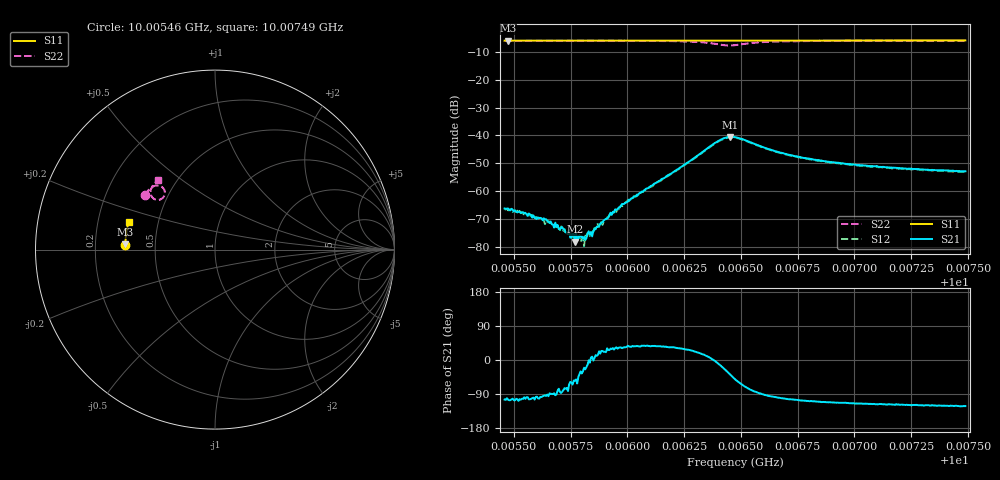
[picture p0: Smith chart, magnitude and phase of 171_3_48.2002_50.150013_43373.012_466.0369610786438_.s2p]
#  HZ  S  RI  R  50.00
! Rohde & Schwarz Vector Network Analyzer
! Rohde-Schwarz,ZNB20-2Port,1311601062101988,3.16
! Created: UTC 3/20/2024, 11:43:44 AM
! freq[Hz]  re:S11  im:S11  re:S21  im:S21  re:S12  im:S12  re:S22  im:S22
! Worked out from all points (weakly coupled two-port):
!   401 points, 10.00546 GHz to 10.00749 GHz, reference 50 ohm
!   highest |S21| = -40.52 dB at 10.00645 GHz (marker M1); lowest = -78.1 dB at 10.00577 GHz (marker M2)
!   lowest |S11| = -6.0 dB at 10.00547 GHz (marker M3), VSWR 3.00, Z = 16.7 + j1.26 ohm
!   |S11| at or under -10 dB: nowhere
!   |S22| runs from -7.8 to -6.0 dB; largest |S21 - S12| = 0.00057
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1.000546e10  -0.4998 0.0275  -0.000121 -0.000474  -9.79e-05 -0.000453  -0.3916 0.3051
1.0005475e10  -0.4997 0.0284  -0.000124 -0.000474  -0.000101 -0.000441  -0.3911 0.306
1.0005571e10  -0.4995 0.0348  -9.05e-05 -0.000373  -9.27e-05 -0.000361  -0.3868 0.3118
1.0005642e10  -0.4993 0.0395  -2.51e-05 -0.000313  1.28e-05 -0.000284  -0.3835 0.3161
1.0005713e10  -0.4992 0.044  2.41e-05 -0.000225  4.41e-05 -0.000226  -0.3797 0.3204
1.0005759e10  -0.4989 0.047  7.37e-05 -0.000155  9.42e-05 -0.000135  -0.3774 0.3234
1.0005769e10  -0.4989 0.0477  7.28e-05 -0.000101  6.47e-05 -0.000135  -0.377 0.324
1.0005794e10  -0.4987 0.0493  0.000132 -7.65e-05  9.28e-05 -8.22e-05  -0.3758 0.3255
1.0005799e10  -0.4988 0.0495  0.000127 -9.06e-05  0.000126 -6.13e-05  -0.3754 0.3259
1.000581e10  -0.4987 0.0502  0.000142 -5.24e-05  9.46e-05 -4.15e-05  -0.3747 0.3266
1.0005845e10  -0.4985 0.0526  0.000153 2.37e-05  0.000191 4.11e-05  -0.3728 0.3287
1.0005876e10  -0.4984 0.0545  0.000218 9.18e-05  0.000218 6.89e-05  -0.371 0.3307
1.0005936e10  -0.4982 0.0584  0.000366 0.000223  0.000339 0.000222  -0.367 0.3348
1.0005992e10  -0.4976 0.062  0.000518 0.000344  0.000507 0.000369  -0.3629 0.3387
1.0006139e10  -0.4965 0.0716  0.00123 0.000901  0.00115 0.000951  -0.3489 0.3494
1.0006393e10  -0.4939 0.088  0.00758 -0.000802  0.00746 -0.0004  -0.2818 0.3311
1.0006454e10  -0.4932 0.0912  0.00729 -0.00596  0.00742 -0.00542  -0.2935 0.2857
1.0006474e10  -0.4931 0.0923  0.00588 -0.0072  0.00614 -0.00675  -0.3085 0.2781
1.0006657e10  -0.4918 0.104  -0.000769 -0.00509  -0.000524 -0.00503  -0.3596 0.3215
1.0006814e10  -0.49 0.1141  -0.0012 -0.00353  -0.00103 -0.00351  -0.353 0.3447
1.0007154e10  -0.4854 0.1355  -0.00121 -0.00238  -0.0011 -0.00235  -0.3347 0.3708
1.0007489e10  -0.4798 0.1565  -0.00119 -0.00194  -0.00108 -0.00191  -0.3172 0.389
